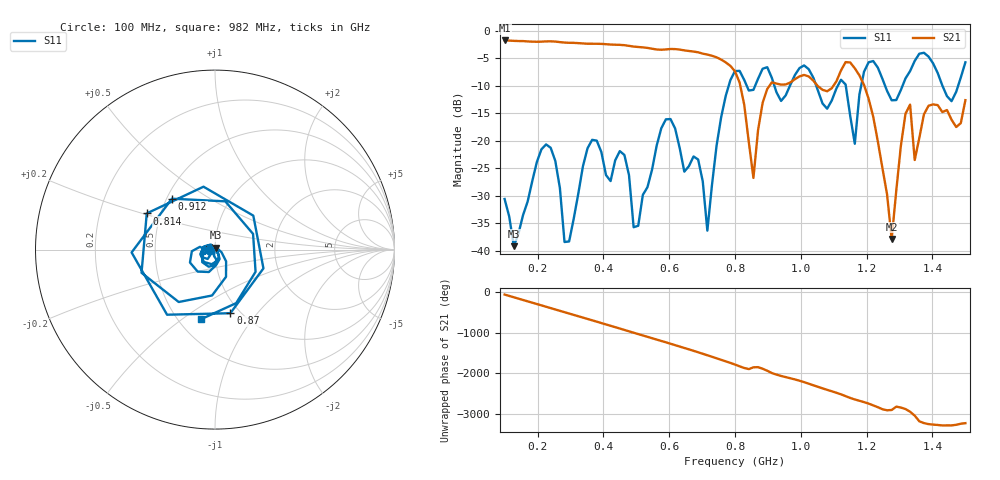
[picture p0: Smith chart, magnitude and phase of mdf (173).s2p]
! NanoVNA-App
! Date: 2025-09-26 09:41:05
! Start: 100MHz Stop: 1,5GHz Points: 101
! S-Parameter data: F S11 S21 S12 S22
# Hz S RI R 50
!  Frequency  S11_Real  S11_Imag  S21_Real  S21_Imag  S12_Real  S12_Imag  S22_Real  S22_Imag
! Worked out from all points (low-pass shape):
!   101 points, 100 MHz to 1.5 GHz, reference 50 ohm
!   highest |S21| = -1.79 dB at 100 MHz (marker M1); lowest = -37.9 dB at 1.276 GHz (marker M2)
!   |S21| within 3 dB of the highest: start of sweep to 740.7 MHz
!   lowest |S11| = -39.2 dB at 128 MHz (marker M3), VSWR 1.02, Z = 50.3 + j1.06 ohm
!   |S11| at or under -10 dB: start of sweep to 781 MHz; 1.047 GHz to 1.113 GHz (66.12 MHz wide, 6.12 % of centre); 1.256 GHz to 1.309 GHz (53.46 MHz wide, 4.17 % of centre)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
!   S12 and S22 are empty: the file has one direction only
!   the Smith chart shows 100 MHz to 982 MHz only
!   S11 on the Smith chart (normalised r, x): 100 MHz: 0.94, -0.01; 814 MHz: 0.42, +0.21; 870 MHz: 0.90, -0.74; 912 MHz: 0.53, +0.35; 982 MHz: 0.65, -0.59
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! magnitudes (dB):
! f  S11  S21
! 100 MHz  -30.6  -1.8
! 128 MHz  -39.2  -1.9
! 212 MHz  -21.6  -2.0
! 282 MHz  -38.4  -2.2
! 338 MHz  -24.7  -2.3
! 464 MHz  -22.6  -2.6
! 506 MHz  -35.5  -3.0
! 576 MHz  -17.8  -3.5
! 716 MHz  -36.4  -4.4
! 800 MHz  -7.3  -7.4
! 814 MHz  -7.3  -9.4
! 856 MHz  -10.8  -26.8
! 870 MHz  -8.8  -18.1
! 912 MHz  -8.6  -9.4
! 982 MHz  -8.1  -8.8
! 1.038 GHz  -8.6  -9.1
! 1.164 GHz  -20.6  -6.9
! 1.178 GHz  -11.6  -8.1
! 1.276 GHz  -12.7  -37.9
! 1.332 GHz  -7.4  -13.5
! 1.346 GHz  -5.5  -23.5
! 1.5 GHz  -5.8  -12.6
